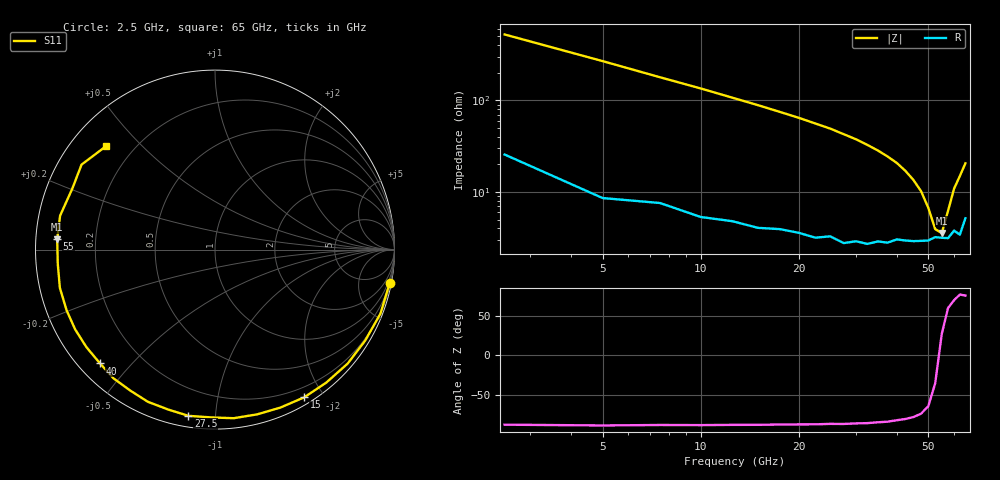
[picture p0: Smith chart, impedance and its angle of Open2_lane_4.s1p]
! File created by SignalIntegrity v1.5.1: Signal and Power Integrity Tools
! https://github.com/Nubis-Communications/SignalIntegrity
# MHz S MA R 50.0
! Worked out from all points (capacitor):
!   26 points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, 2.5 GHz to 65 GHz, reference 50 ohm
!   read as one part to ground: C = 118 fF near 2.5 GHz
!   lowest |Z| = 3.55 ohm at 55 GHz (marker M1)
!   series resonance near 53.96 GHz, so ESL is about 74 pH
!   S11 on the Smith chart (normalised r, x): 2.5 GHz: 1, -10; 15 GHz: 0.08, -1.77; 27.5 GHz: 0.06, -0.85; 40 GHz: 0.06, -0.41; 55 GHz: 0.06, +0.03; 65 GHz: 0.10, +0.40
2500  0.9908 -10.9
5000  0.9885 -21.1
7500  0.9782 -31.3
10000  0.9745 -40.7
12500  0.9662 -50.1
15000  0.9615 -58.9
17500  0.9526 -67.5
20000  0.9476 -75.6
22500  0.9451 -83.7
25000  0.9354 -91.1
27500  0.9379 -99.1
30000  0.9285 -106.3
32500  0.9267 -113.8
35000  0.9163 -121.0
37500  0.9134 -128.2
40000  0.9014 -135.3
42500  0.8993 -142.8
45000  0.8971 -150.3
47500  0.8934 -157.8
50000  0.8901 -166.2
52500  0.8796 -174.8
55000  0.8812 176.3
57500  0.8835 167.7
60000  0.8645 156.8
62500  0.8815 147.5
65000  0.8366 136.3
